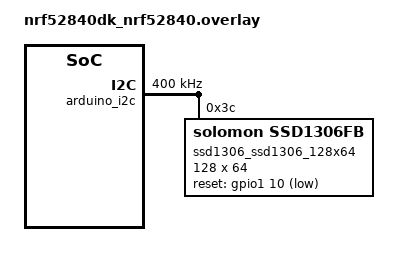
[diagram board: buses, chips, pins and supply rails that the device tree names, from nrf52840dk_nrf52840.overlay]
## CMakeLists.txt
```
cmake_minimum_required(VERSION 3.20.0)

set(SHIELD ssd1306_128x64)

find_package(Zephyr REQUIRED HINTS $ENV{ZEPHYR_BASE})

project(app)

FILE(GLOB app_sources src/*.c)
target_sources(app PRIVATE ${app_sources})
```

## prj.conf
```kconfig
# Heap and stacks
CONFIG_INIT_STACKS=y
CONFIG_MAIN_STACK_SIZE=4096
CONFIG_HEAP_MEM_POOL_SIZE=4096
CONFIG_SYSTEM_WORKQUEUE_STACK_SIZE=4096
CONFIG_BT_RX_STACK_SIZE=2048

# Logging
CONFIG_LOG=y
CONFIG_LOG_BACKEND_RTT=y
CONFIG_LOG_BACKEND_UART=n

# Display
CONFIG_I2C=y
CONFIG_DISPLAY=y
CONFIG_SSD1306=y
CONFIG_SSD1306_DEFAULT_CONTRAST=128

CONFIG_LVGL=y
CONFIG_LV_MEM_CUSTOM=y
CONFIG_LV_USE_LABEL=y
CONFIG_LV_USE_CANVAS=y
CONFIG_LV_USE_LOG=y
# CONFIG_LV_LOG_LEVEL_INFO=y

CONFIG_LV_DPI_DEF=148
CONFIG_LV_Z_BITS_PER_PIXEL=1
CONFIG_LV_COLOR_DEPTH_1=y
CONFIG_LV_FONT_DEFAULT_MONTSERRAT_12=y

# Enable the UART driver
CONFIG_UART_ASYNC_API=y
CONFIG_NRFX_UARTE0=y
CONFIG_SERIAL=y
CONFIG_UART_INTERRUPT_DRIVEN=y

 # Bluetooth
CONFIG_BT=y
CONFIG_BT_PERIPHERAL=y
CONFIG_BT_DEVICE_NAME="Nordic_UART_Service"
CONFIG_BT_MAX_CONN=1
CONFIG_BT_MAX_PAIRED=1

# Allow for large Bluetooth data packets.
CONFIG_BT_L2CAP_TX_MTU=498
CONFIG_BT_BUF_ACL_RX_SIZE=502
CONFIG_BT_BUF_ACL_TX_SIZE=502
CONFIG_BT_CTLR_DATA_LENGTH_MAX=251
CONFIG_BT_USER_PHY_UPDATE=y
CONFIG_BT_GATT_CLIENT=y
CONFIG_BT_USER_DATA_LEN_UPDATE=y

# Enable the NUS service
CONFIG_BT_NUS=y

# Enable Bootloader
CONFIG_BOOTLOADER_MCUBOOT=y

# Enable BLE transfer
CONFIG_NCS_SAMPLE_MCUMGR_BT_OTA_DFU=y
CONFIG_NCS_SAMPLE_MCUMGR_BT_OTA_DFU_SPEEDUP=y


# Enable DK LED and Buttons library
CONFIG_DK_LIBRARY=y
```

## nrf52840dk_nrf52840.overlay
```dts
// To get started, press Ctrl+Space to bring up the completion menu and view the available nodes.

// You can also use the buttons in the sidebar to perform actions on nodes.
// Actions currently available include:

// * Enabling / disabling the node
// * Adding the bus to a bus
// * Removing the node
// * Connecting ADC channels

// For more help, browse the DeviceTree documentation at https://docs.zephyrproject.org/latest/guides/dts/index.html
// You can also visit the nRF DeviceTree extension documentation at https://nrfconnect.github.io/vscode-nrf-connect/devicetree/nrfdevicetree.html
/ {
	chosen {
		nordic,nus-uart = &uart0;
	};
};

&arduino_i2c {
	status = "okay";
	clock-frequency = <I2C_BITRATE_FAST>;

	ssd1306_ssd1306_128x64: ssd1306@3c {
		compatible = "solomon,ssd1306fb";
		reg = <0x3c>;
		width = <128>;
		height = <64>;
		segment-offset = <0>;
		page-offset = <0>;
		display-offset = <0>;
		multiplex-ratio = <63>;
		segment-remap;
		com-invdir;		
		inversion-on;
		prechargep = <0x22>;
		reset-gpios = <&gpio1 10 GPIO_ACTIVE_LOW>;
	};
};
```

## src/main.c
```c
#include <zephyr/kernel.h>
#include <zephyr/logging/log.h>

#include <dk_buttons_and_leds.h>

#include "main.h"
#include "uart.h"
#include "ble.h"
#include "ui.h"

LOG_MODULE_REGISTER(main);

static void configure_gpio(void)
{
	int err;

	err = dk_leds_init();
	if (err) {
		LOG_ERR("Cannot init LEDs (err: %d)", err);
	}
}

void error(void)
{
	dk_set_leds_state(DK_ALL_LEDS_MSK, DK_NO_LEDS_MSK);

	while (true) {
		/* Spin for ever */
		k_sleep(K_MSEC(1000));
	}
}

int main(void)
{
	int blink_status = 0;
    int err = 0;

    configure_gpio();

	err = uart_init();
	if (err) {
		error();
	}
    
	err = ble_init();

	if (err) {
		error();
	}    

	ui_init();	

	while (1) {		
		lv_task_handler();
		k_sleep(K_MSEC(100));
        dk_set_led(RUN_STATUS_LED, (++blink_status) % 2);
	}
}
```

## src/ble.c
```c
#include <zephyr/kernel.h>
#include <zephyr/logging/log.h>

#include <zephyr/bluetooth/bluetooth.h>
#include <zephyr/bluetooth/uuid.h>
#include <zephyr/bluetooth/gatt.h>
#include <zephyr/bluetooth/hci.h>
#include <bluetooth/services/nus.h>
#include <zephyr/mgmt/mcumgr/transport/smp_bt.h>

#include <dk_buttons_and_leds.h>

#include "main.h"
#include "ble.h"
#include "ui.h"

LOG_MODULE_REGISTER(ble);

static K_SEM_DEFINE(ble_init_ok, 0, 1);

static struct bt_conn *current_conn;

static const struct bt_data ad[] = {
	BT_DATA_BYTES(BT_DATA_FLAGS, (BT_LE_AD_GENERAL | BT_LE_AD_NO_BREDR)),
	BT_DATA(BT_DATA_NAME_COMPLETE, DEVICE_NAME, DEVICE_NAME_LEN),
};

static const struct bt_data sd[] = {
	BT_DATA_BYTES(BT_DATA_UUID128_ALL, BT_UUID_NUS_VAL),
};

static void MTU_exchange_cb(struct bt_conn *conn, uint8_t err, struct bt_gatt_exchange_params *params)
{
	if (!err) {
		LOG_INF("MTU exchange done. %d", bt_gatt_get_mtu(current_conn)-3); 
	} else {
		LOG_WRN("MTU exchange failed (err %" PRIu8 ")", err);
	}
}

static void request_mtu_exchange(void)
{	int err;
	static struct bt_gatt_exchange_params exchange_params;
	exchange_params.func = MTU_exchange_cb;

	err = bt_gatt_exchange_mtu(current_conn, &exchange_params);
	if (err) {
		LOG_WRN("MTU exchange failed (err %d)", err);
	} else {
		LOG_INF("MTU exchange pending");
	}
}

void mtu_updated(struct bt_conn *conn, uint16_t tx, uint16_t rx)
{
	LOG_INF("Updated MTU: TX: %d RX: %d bytes\n", tx, rx);
}

static struct bt_gatt_cb gatt_callbacks = {.att_mtu_updated = mtu_updated};

static void request_data_len_update(void)
{
	int err;
	err = bt_conn_le_data_len_update(current_conn, BT_LE_DATA_LEN_PARAM_MAX);
		if (err) {
			LOG_ERR("LE data length update request failed: %d",  err);
		}
}

static void request_phy_update(void)
{
	int err;

	err = bt_conn_le_phy_update(current_conn, BT_CONN_LE_PHY_PARAM_2M);
		if (err) {
			LOG_ERR("Phy update request failed: %d",  err);
		}
}

static struct bt_le_conn_param *conn_param = BT_LE_CONN_PARAM(INTERVAL_MIN, INTERVAL_MAX, 0, 400);

static int update_connection_parameters(void)
{	
	int err;
	err = bt_conn_le_param_update(current_conn, conn_param);
		if (err) {
			LOG_ERR("Cannot update conneciton parameter (err: %d)", err);
			return err;
		}
	LOG_INF("Connection parameters update requested");
	return 0;
}

static void conn_params_updated(struct bt_conn *conn, uint16_t interval, uint16_t latency, uint16_t timeout)
{
	uint32_t interval_int= interval*1.25;
	LOG_INF("Conn params updated: interval %d ms, latency %d, timeout: %d0 ms",interval_int, latency, timeout);
}

static void connected(struct bt_conn *conn, uint8_t err)
{
	char addr[BT_ADDR_LE_STR_LEN];

	if (err) {
		LOG_ERR("Connection failed (err %u)", err);
		return;
	}

	bt_addr_le_to_str(bt_conn_get_dst(conn), addr, sizeof(addr));
	LOG_INF("Connected %s", addr);

	current_conn = bt_conn_ref(conn);
	update_connection_parameters();
	request_mtu_exchange();
	request_data_len_update();
	request_phy_update();

	dk_set_led_on(CON_STATUS_LED);
}

static void disconnected(struct bt_conn *conn, uint8_t reason)
{
	char addr[BT_ADDR_LE_STR_LEN];

	bt_addr_le_to_str(bt_conn_get_dst(conn), addr, sizeof(addr));

	LOG_INF("Disconnected: %s (reason %u)", addr, reason);

	if (current_conn) {
		bt_conn_unref(current_conn);
		current_conn = NULL;
		dk_set_led_off(CON_STATUS_LED);
	}
}

BT_CONN_CB_DEFINE(conn_callbacks) = {
	.connected    = connected,
	.disconnected = disconnected,
	.le_param_updated= conn_params_updated,
};

static void bt_receive_cb(struct bt_conn *conn, const uint8_t *const data,
			  uint16_t len)
{
	int err;
	char addr[BT_ADDR_LE_STR_LEN] = {0};
    char message[40];
    memcpy(message, data, MIN(sizeof(message) - 1, len));
    message[MIN(sizeof(message) - 1, len)] = '\0';

	bt_addr_le_to_str(bt_conn_get_dst(conn), addr, ARRAY_SIZE(addr));

	LOG_INF("Received data from: %s", addr);	
    LOG_INF("Received data: %s", message);
    LOG_INF("Received data length: %d", len);

    char ble_message[100];
    
    int packet_len = sprintf(ble_message, "BLE Echo: %s", message);
    ble_send(ble_message, packet_len);
    update_text(ble_message);
}

static struct bt_nus_cb nus_cb = {
	.received = bt_receive_cb,
};

int ble_init(void)
{
    int err;
    
    err = bt_enable(NULL);
	if (err) {
		LOG_ERR("Bluetooth init failed (err %d)", err);
	}

	bt_gatt_cb_register(&gatt_callbacks);

    k_sem_give(&ble_init_ok);

    err = bt_nus_init(&nus_cb);
	if (err) {
		LOG_ERR("Failed to initialize UART service (err: %d)", err);
	}

	bt_le_adv_stop();

    err = bt_le_adv_start(BT_LE_ADV_CONN, ad, ARRAY_SIZE(ad), sd,
			      ARRAY_SIZE(sd));
	if (err) {
		LOG_ERR("Advertising failed to start (err %d)", err);
	}  

    return err;
}

void ble_send(char *buffer, int len)
{
    int err;
    if (current_conn) {
        err = bt_nus_send(current_conn, buffer, len);
        if (err) {
            LOG_ERR("Failed to send data over BLE (err %d)", err);
        }
    } else {
        LOG_ERR("No connection to send data over BLE");
    }
}
```

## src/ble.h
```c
#define DEVICE_NAME CONFIG_BT_DEVICE_NAME
#define DEVICE_NAME_LEN	(sizeof(DEVICE_NAME) - 1)
#define INTERVAL_MIN  6     
#define INTERVAL_MAX  6  

int ble_init(void);
void ble_send(char *buffer, int len);
```

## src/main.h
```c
#define RUN_STATUS_LED DK_LED1
#define RUN_LED_BLINK_INTERVAL 1000
#define CON_STATUS_LED DK_LED2
```

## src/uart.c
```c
#include <zephyr/kernel.h>
#include <zephyr/drivers/uart.h>
#include <zephyr/logging/log.h>

#include "uart.h"
#include "ui.h"

static const struct device *uart = DEVICE_DT_GET(DT_CHOSEN(nordic_nus_uart));

static char rx_buf[CMD_MSG_SIZE];
static int rx_buf_pos;

LOG_MODULE_REGISTER(uart);

/* Queue to store up to 4 messages (aligned to 4-byte boundary) */
K_MSGQ_DEFINE(uart_msgq, CMD_MSG_SIZE, 4, 4);

struct k_work uart_work;

void uart_cb(const struct device *dev, void *user_data)
{
	uint8_t c;

	if (!uart_irq_update(uart)) {
		return;
	}

	if (!uart_irq_rx_ready(uart)) {
		return;
	}

	/* read until FIFO empty */
	while (uart_fifo_read(uart, &c, 1) == 1) {
		//LOG_INF("%d", c);
		if (c == '\n') {

		} else if ((c == '\r') && rx_buf_pos > 0) {
			/* terminate string */
			rx_buf[rx_buf_pos] = '\0';
			//LOG_INF("[%s]",rx_buf);

			/* if queue is full, message is silently dropped */
			if (rx_buf[0] == 0) {
				// Remove null at start of string
				k_msgq_put(&uart_msgq, &rx_buf[1], K_NO_WAIT);
			} else { 
				k_msgq_put(&uart_msgq, &rx_buf, K_NO_WAIT);
			}
			k_work_submit(&uart_work);

			/* reset the buffer (it was copied to the msgq) */
			rx_buf_pos = 0;
		} else if (rx_buf_pos < (sizeof(rx_buf) - 1)) {
			rx_buf[rx_buf_pos++] = c;
		}
		/* else: characters beyond buffer size are dropped */
	}
}

void uart_work_function(struct k_work *item)
{
	char buffer[CMD_MSG_SIZE];
    char uart_message[100];

	//LOG_INF("ESP32/UART Work Function");

	// Keep processing until there are no more NMEA messages in queue:
	while (k_msgq_num_used_get(&uart_msgq)) {
		// 1 or more messages in message queue:
		if (k_msgq_get(&uart_msgq, &buffer, K_FOREVER) == 0) {
            uart_send("Echo: ");
		    uart_send(buffer);
		    uart_send("\r\n");      
            sprintf(uart_message, "UART Echo: %s", buffer); 
            update_text(uart_message);  
		}
	}

}

int uart_init(void)
{
	int ret;

	if (!device_is_ready(uart)) {
		return -ENODEV;
	}

	ret = uart_irq_callback_user_data_set(uart, uart_cb, NULL);
	if (ret < 0) {
		if (ret == -ENOTSUP) {
			LOG_ERR("Interrupt-driven UART API support not enabled");
		} else if (ret == -ENOSYS) {
			LOG_ERR("UART device does not support interrupt-driven API");
		} else {
			LOG_ERR("Error setting UART callback: %d", ret);
		}
		return -1;
	}

	k_work_init(&uart_work, uart_work_function);

	uart_irq_rx_enable(uart);

	return ret;
}

void uart_send(char *buffer)
{
	for (int i = 0; i < strlen(buffer); i++) {
		uart_poll_out(uart, buffer[i]);
	}
}
```

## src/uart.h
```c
#define UART_BUF_SIZE 40
#define UART_WAIT_FOR_BUF_DELAY K_MSEC(50)
#define UART_WAIT_FOR_RX 50000
#define CMD_MSG_SIZE 82

int uart_init(void);
void uart_send(char *buffer);
```

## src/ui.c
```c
#include <zephyr/kernel.h>
#include <zephyr/drivers/display.h>
#include <zephyr/logging/log.h>

#include "ui.h"

const struct device *display_dev;
lv_obj_t *hello_world_label;
lv_obj_t *text_label;

LOG_MODULE_REGISTER(ui);

void display_init(void) {

    display_dev = DEVICE_DT_GET(DT_CHOSEN(zephyr_display));

	if (display_dev == NULL) {
        LOG_ERR("Display device not found. Aborting application.");
	}
}

void ui_init(void) {
    display_init();

    hello_world_label = lv_label_create(lv_scr_act());
	
	lv_label_set_text(hello_world_label, "Hello world!");
	lv_obj_align(hello_world_label, LV_ALIGN_CENTER, 0, 0);

	text_label = lv_label_create(lv_scr_act());
	lv_obj_align(text_label, LV_ALIGN_BOTTOM_MID, 0, 0);

	lv_task_handler();
	display_blanking_off(display_dev);
}

void update_text(char *text) {
    lv_label_set_text(text_label, text);    
}
```

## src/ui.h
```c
#include <lvgl.h>

void ui_init(void);
void update_text(char *text);
```
